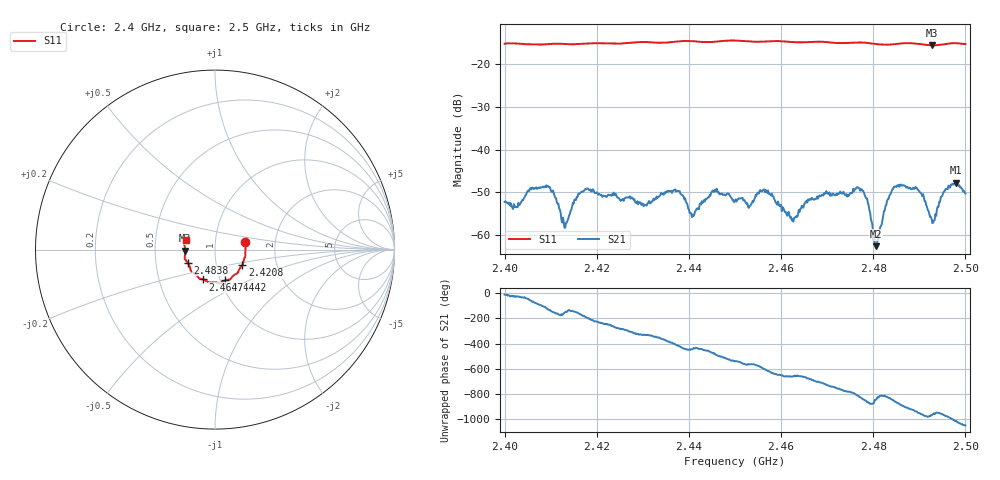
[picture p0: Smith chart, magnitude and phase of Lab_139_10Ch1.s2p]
# Hz S RI R 50
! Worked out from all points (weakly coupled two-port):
!   601 points, 2.4 GHz to 2.5 GHz, reference 50 ohm
!   highest |S21| = -47.69 dB at 2.498 GHz (marker M1); lowest = -62.6 dB at 2.4807 GHz (marker M2)
!   lowest |S11| = -15.6 dB at 2.4928 GHz (marker M3), VSWR 1.40, Z = 35.8 - j0.392 ohm
!   |S11| at or under -10 dB: start of sweep to end of sweep
!   S12 and S22 are empty: the file has one direction only
!   S11 on the Smith chart (normalised r, x): 2.4 GHz: 1.40, +0.12; 2.4208 GHz: 1.33, -0.24; 2.4442 GHz: 1.05, -0.37; 2.4647 GHz: 0.83, -0.29; 2.4838 GHz: 0.73, -0.11; 2.5 GHz: 0.72, +0.08
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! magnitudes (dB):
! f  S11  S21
! 2.4 GHz  -15.2  -52.2
! 2.4093 GHz  -15.3  -48.5
! 2.4133 GHz  -15.3  -57.1
! 2.4167 GHz  -15.3  -49.9
! 2.4208 GHz  -15.1  -50.6
! 2.4333 GHz  -15.0  -51.0
! 2.4375 GHz  -14.7  -49.7
! 2.4407 GHz  -14.6  -55.8
! 2.4442 GHz  -14.9  -51.2
! 2.45 GHz  -14.5  -52.0
! 2.4567 GHz  -14.7  -49.4
! 2.4625 GHz  -14.8  -56.3
! 2.4647 GHz  -14.9  -53.5
! 2.4667 GHz  -14.8  -51.2
! 2.4773 GHz  -15.0  -49.2
! 2.4807 GHz  -15.3  -62.6
! 2.4833 GHz  -15.5  -51.5
! 2.4838 GHz  -15.4  -50.2
! 2.4895 GHz  -15.2  -49.0
! 2.4928 GHz  -15.6  -57.2
! 2.498 GHz  -15.1  -47.7
! 2.5 GHz  -15.3  -50.3
